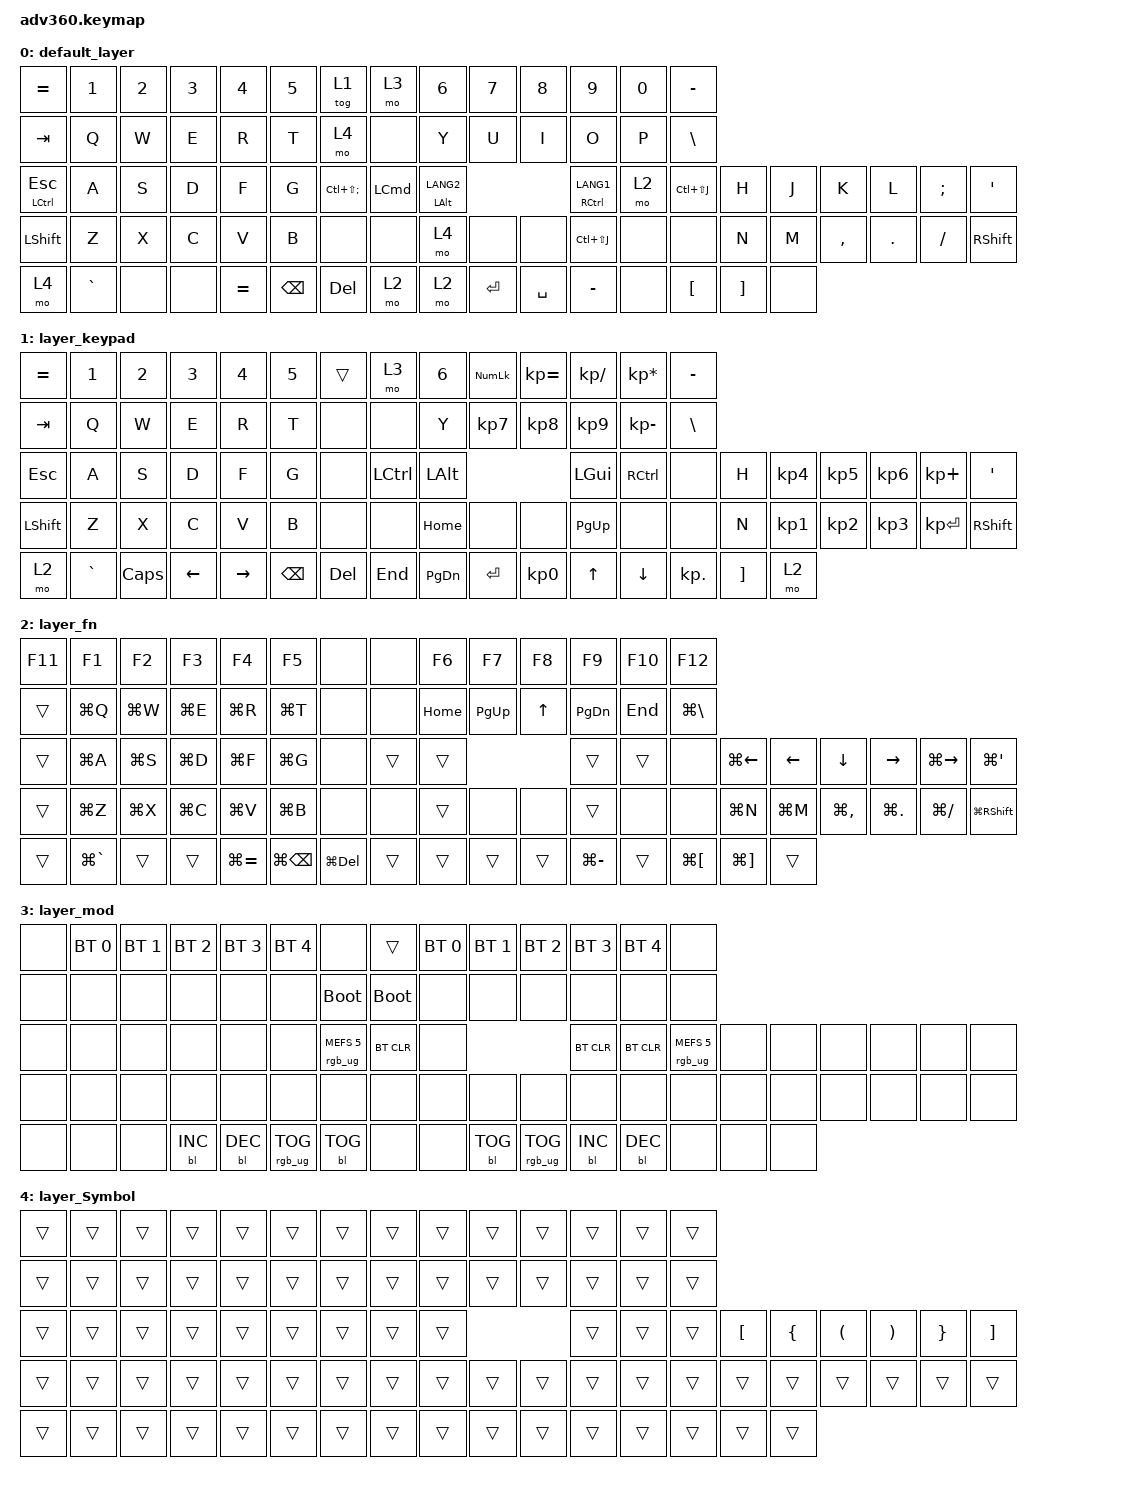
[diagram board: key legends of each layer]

/*
 * Copyright (c) 2020 The ZMK Contributors
 *
 * SPDX-License-Identifier: MIT
 */


/* THIS FILE WAS GENERATED!
 *
 * This file was generated automatically. You may or may not want to
 * edit it directly.
 */

#include <behaviors.dtsi>
#include <dt-bindings/zmk/keys.h>
#include <dt-bindings/zmk/bt.h>
#include <dt-bindings/zmk/rgb.h>
#include <dt-bindings/zmk/backlight.h>

/ {
  behaviors {
    #include "macros.dtsi"

    hm: homerow_mods {
        compatible = "zmk,behavior-hold-tap";
        label = "HOMEROW_MODS";
        #binding-cells = <2>;
        tapping-term-ms = <200>;
        quick_tap_ms = <175>;
        flavor = "tap-preferred";
        bindings = <&kp>, <&kp>;
    };
  };

    keymap {
        compatible = "zmk,keymap";


        default_layer {
            bindings = <
        &kp EQUAL     &kp N1  &kp N2  &kp N3     &kp N4    &kp N5                           &tog 1             &mo 3          &kp N6     &kp N7     &kp N8           &kp N9  &kp N0      &kp MINUS
          &kp TAB      &kp Q   &kp W   &kp E      &kp R     &kp T                            &mo 4             &none           &kp Y      &kp U      &kp I            &kp O   &kp P       &kp BSLH
 &mt LCTRL ESCAPE      &kp A   &kp S   &kp D      &kp F     &kp G            &kp LC(LS(SEMICOLON))  &kp LEFT_COMMAND  &mt LALT LANG2                        &mt RCTRL LANG1   &mo 2  &kp LC(LS(J))     &kp H   &kp J      &kp K    &kp L  &kp SEMI    &kp SQT
        &kp LSHFT      &kp Z   &kp X   &kp C      &kp V     &kp B                            &none             &none           &mo 4      &none      &none    &kp LC(LS(J))   &none          &none     &kp N   &kp M  &kp COMMA  &kp DOT  &kp FSLH  &kp RSHFT
            &mo 4  &kp GRAVE   &none   &none  &kp EQUAL  &kp BSPC                          &kp DEL             &mo 2           &mo 2  &kp ENTER  &kp SPACE        &kp MINUS   &none       &kp LBKT  &kp RBKT   &none
            >;
        };

        layer_keypad {
            bindings = <
 &kp EQUAL     &kp N1    &kp N2    &kp N3     &kp N4    &kp N5             &trans      &mo 3     &kp N6  &kp KP_NUM  &kp KP_EQUAL  &kp KP_DIVIDE  &kp KP_MULTIPLY   &kp MINUS
   &kp TAB      &kp Q     &kp W     &kp E      &kp R     &kp T              &none      &none      &kp Y   &kp KP_N7     &kp KP_N8      &kp KP_N9     &kp KP_MINUS    &kp BSLH
   &kp ESC      &kp A     &kp S     &kp D      &kp F     &kp G              &none  &kp LCTRL   &kp LALT                                 &kp LGUI        &kp RCTRL       &none     &kp H  &kp KP_N4  &kp KP_N5  &kp KP_N6   &kp KP_PLUS    &kp SQT
 &kp LSHFT      &kp Z     &kp X     &kp C      &kp V     &kp B              &none      &none   &kp HOME       &none         &none      &kp PG_UP            &none       &none     &kp N  &kp KP_N1  &kp KP_N2  &kp KP_N3  &kp KP_ENTER  &kp RSHFT
     &mo 2  &kp GRAVE  &kp CAPS  &kp LEFT  &kp RIGHT  &kp BSPC            &kp DEL    &kp END  &kp PG_DN   &kp ENTER     &kp KP_N0         &kp UP         &kp DOWN  &kp KP_DOT  &kp RBKT      &mo 2
            >;
        };

        layer_fn {
            bindings = <
 &kp F11         &kp F1     &kp F2     &kp F3         &kp F4             &kp F5                     &none   &none    &kp F6       &kp F7  &kp F8         &kp F9  &kp F10               &kp F12
  &trans      &kp LG(Q)  &kp LG(W)  &kp LG(E)      &kp LG(R)          &kp LG(T)                     &none   &none  &kp HOME  &kp PAGE_UP  &kp UP      &kp PG_DN  &kp END     &kp LG(BACKSLASH)
  &trans      &kp LG(A)  &kp LG(S)  &kp LG(D)      &kp LG(F)          &kp LG(G)                     &none  &trans    &trans                              &trans   &trans                 &none           &kp LG(LEFT)   &kp LEFT       &kp DOWN       &kp RIGHT  &kp LG(RIGHT)         &kp LG(APOS)
  &trans      &kp LG(Z)  &kp LG(X)  &kp LG(C)      &kp LG(V)          &kp LG(B)                     &none   &none    &trans        &none   &none         &trans    &none                 &none              &kp LG(N)  &kp LG(M)  &kp LG(COMMA)  &kp LG(PERIOD)  &kp LG(SLASH)  &kp LG(RIGHT_SHIFT)
  &trans  &kp LG(GRAVE)     &trans     &trans  &kp LG(EQUAL)  &kp LG(BACKSPACE)            &kp LG(DELETE)  &trans    &trans       &trans  &trans  &kp LG(MINUS)   &trans  &kp LG(LEFT_BRACKET)  &kp LG(RIGHT_BRACKET)     &trans
            >;
        };

        layer_mod {
            bindings = <
  &none  &bt BT_SEL 0  &bt BT_SEL 1  &bt BT_SEL 2  &bt BT_SEL 3     &bt BT_SEL 4                             &none       &trans  &bt BT_SEL 0  &bt BT_SEL 1     &bt BT_SEL 2  &bt BT_SEL 3  &bt BT_SEL 4                   &none
  &none         &none         &none         &none         &none            &none                       &bootloader  &bootloader         &none         &none            &none         &none         &none                   &none
  &none         &none         &none         &none         &none            &none            &rgb_ug RGB_MEFS_CMD 5   &bt BT_CLR         &none                                   &bt BT_CLR    &bt BT_CLR  &rgb_ug RGB_MEFS_CMD 5   &none   &none   &none   &none   &none   &none
  &none         &none         &none         &none         &none            &none                             &none        &none         &none         &none            &none         &none         &none                   &none   &none   &none   &none   &none   &none   &none
  &none         &none         &none    &bl BL_INC    &bl BL_DEC  &rgb_ug RGB_TOG                        &bl BL_TOG        &none         &none    &bl BL_TOG  &rgb_ug RGB_TOG    &bl BL_INC    &bl BL_DEC                   &none   &none   &none
            >;
        };

        layer_Symbol {
            bindings = <
 &trans  &trans  &trans  &trans  &trans  &trans            &trans  &trans  &trans  &trans  &trans  &trans  &trans  &trans
 &trans  &trans  &trans  &trans  &trans  &trans            &trans  &trans  &trans  &trans  &trans  &trans  &trans  &trans
 &trans  &trans  &trans  &trans  &trans  &trans            &trans  &trans  &trans                  &trans  &trans  &trans  &kp LEFT_BRACKET  &kp LEFT_BRACE  &kp LEFT_PARENTHESIS  &kp RIGHT_PARENTHESIS  &kp RIGHT_BRACE  &kp RIGHT_BRACKET
 &trans  &trans  &trans  &trans  &trans  &trans            &trans  &trans  &trans  &trans  &trans  &trans  &trans  &trans            &trans          &trans                &trans                 &trans           &trans             &trans
 &trans  &trans  &trans  &trans  &trans  &trans            &trans  &trans  &trans  &trans  &trans  &trans  &trans  &trans            &trans          &trans
            >;
        };

    };
};
